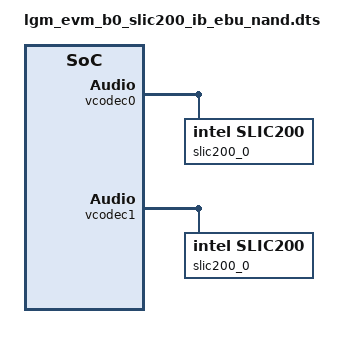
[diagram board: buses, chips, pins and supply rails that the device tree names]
#include "lgm_evm_b0_ebu_nand.dts"

/* Set type of DC/DC converter to IB12 */
&vcodec0 {
	slic200_0 {
		compatible = "intel,slic200";
		dcdc_type = "IB";
	};
};

&vcodec1 {
	slic200_0 {
		compatible = "intel,slic200";
		dcdc_type = "IB";
	};
};
